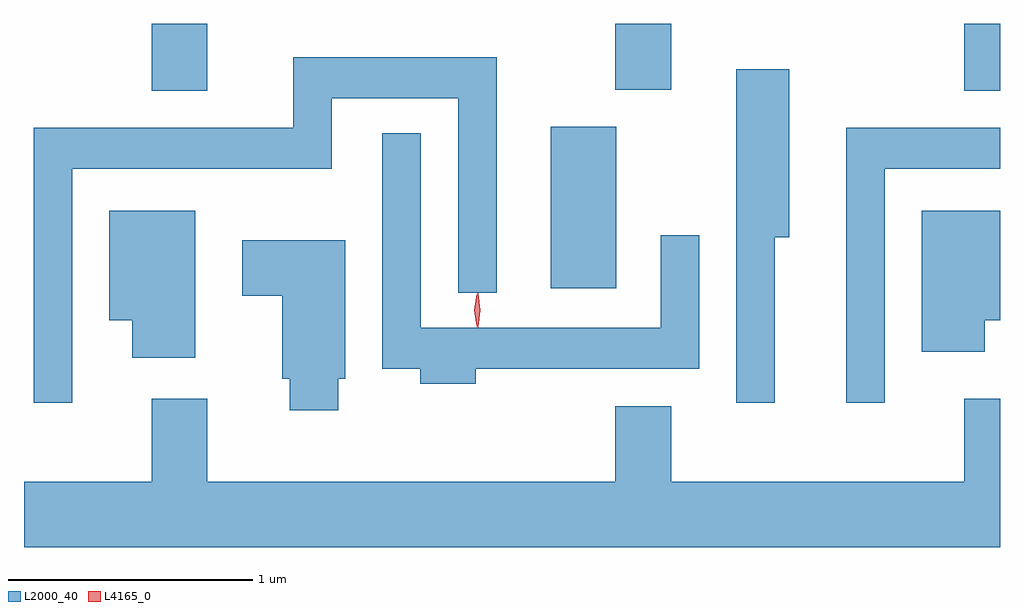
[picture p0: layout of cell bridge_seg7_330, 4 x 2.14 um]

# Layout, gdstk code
import gdstk
lib = gdstk.Library(unit=1e-6, precision=1e-09)
def R(c, l, rs):  # rectangles x0, y0, x1, y1
    for r in rs: c.add(gdstk.rectangle(r[:2], r[2:], *l))
def P(c, l, *ps):  # polygons
    for p in ps: c.add(gdstk.Polygon(p, *l))
L2000_40 = (2000, 40)
L4165_0 = (4165, 0)

bridge_seg7_330 = lib.new_cell('bridge_seg7_330')
R(bridge_seg7_330, L2000_40, [(1191.316,1775.316,1191.584,1775.979), (1189.681,1776.126,1189.909,1776.4), (1193.011,1776.126,1193.157,1776.4), (1191.581,1776.131,1191.809,1776.4)])
P(bridge_seg7_330, L2000_40, [(1189.354,1775.806),(1190.419,1775.806),(1190.419,1776.096),(1190.936,1776.096),(1190.936,1775.298),(1191.094,1775.298),(1191.094,1776.264),(1190.261,1776.264),(1190.261,1775.974),(1189.196,1775.974),(1189.196,1774.848),(1189.354,1774.848)],
  [(1192.234,1775.526),(1192.294,1775.526),(1192.294,1776.214),(1192.076,1776.214),(1192.076,1774.848),(1192.234,1774.848)],
  [(1192.684,1775.806),(1193.157,1775.806),(1193.157,1775.974),(1192.526,1775.974),(1192.526,1774.848),(1192.684,1774.848)],
  [(1191.009,1774.986),(1191.924,1774.986),(1191.924,1775.533),(1191.766,1775.533),(1191.766,1775.154),(1190.784,1775.154),(1190.784,1775.953),(1190.626,1775.953),(1190.626,1774.986),(1190.781,1774.986),(1190.781,1774.926),(1191.009,1774.926)],
  [(1189.859,1775.634),(1189.506,1775.634),(1189.506,1775.186),(1189.601,1775.186),(1189.601,1775.031),(1189.859,1775.031)],
  [(1193.094,1775.186),(1193.157,1775.186),(1193.157,1775.634),(1192.836,1775.634),(1192.836,1775.056),(1193.094,1775.056)],
  [(1190.444,1774.946),(1190.474,1774.946),(1190.474,1775.514),(1190.051,1775.514),(1190.051,1775.286),(1190.216,1775.286),(1190.216,1774.946),(1190.246,1774.946),(1190.246,1774.816),(1190.444,1774.816)],
  [(1193.157,1774.864),(1193.011,1774.864),(1193.011,1774.524),(1191.809,1774.524),(1191.809,1774.834),(1191.581,1774.834),(1191.581,1774.524),(1189.909,1774.524),(1189.909,1774.864),(1189.681,1774.864),(1189.681,1774.524),(1189.157,1774.524),(1189.157,1774.256),(1193.157,1774.256)])
P(bridge_seg7_330, L4165_0, [(1191.017,1775.157),(1191.017,1775.157),(1191.007,1775.227),(1191.017,1775.296),(1191.017,1775.296),(1191.018,1775.296),(1191.027,1775.227),(1191.018,1775.157)],
  [(1191.012,1775.159),(1191.012,1775.16),(1191.002,1775.226),(1191.012,1775.293),(1191.012,1775.293),(1191.013,1775.293),(1191.022,1775.226),(1191.013,1775.16)])

lib.write_gds('bridge_seg7_330.gds')
